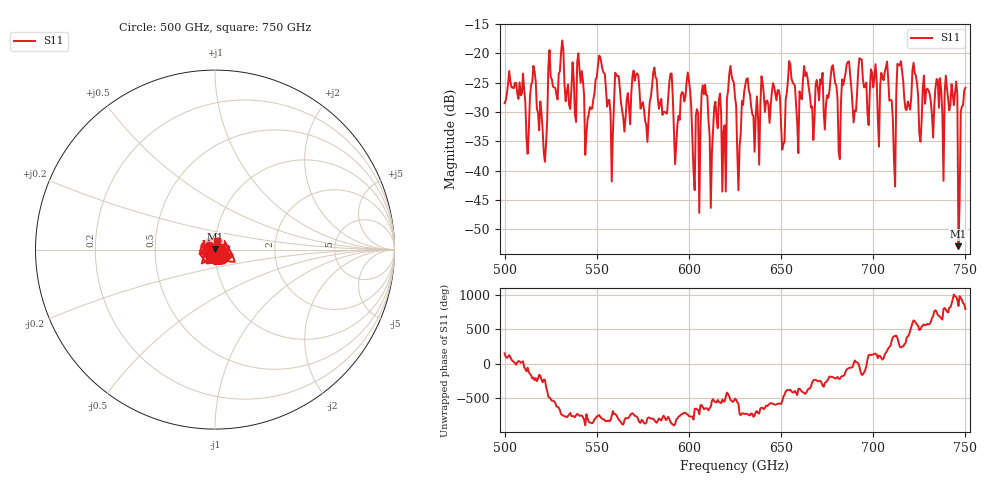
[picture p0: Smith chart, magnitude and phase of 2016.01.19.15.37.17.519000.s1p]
!Created with skrf (http://scikit-rf.org).
# GHz S RI R 50.0
!freq ReS11 ImS11
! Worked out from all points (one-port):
!   401 points, 500 GHz to 750 GHz, reference 50 ohm
!   lowest |S11| = -52.8 dB at 746.2 GHz (marker M1), VSWR 1.00, Z = 49.9 + j0.194 ohm
!   |S11| at or under -10 dB: start of sweep to end of sweep
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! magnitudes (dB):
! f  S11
! 500 GHz  -28.5
! 512.5 GHz  -37.1
! 515.6 GHz  -22.1
! 521.9 GHz  -38.5
! 525 GHz  -24.0
! 531.2 GHz  -17.8
! 545 GHz  -31.2
! 551.9 GHz  -20.6
! 557.5 GHz  -30.5
! 562.5 GHz  -25.9
! 590 GHz  -23.4
! 593.8 GHz  -32.2
! 599.4 GHz  -23.2
! 604.4 GHz  -29.5
! 608.1 GHz  -27.0
! 611.9 GHz  -46.3
! 625 GHz  -27.4
! 626.9 GHz  -43.3
! 631.2 GHz  -24.3
! 651.2 GHz  -35.5
! 656.2 GHz  -24.9
! 678.1 GHz  -22.0
! 681.2 GHz  -36.7
! 687.5 GHz  -23.8
! 718.8 GHz  -28.2
! 743.8 GHz  -28.8
! 746.2 GHz  -52.8
! 750 GHz  -25.9
